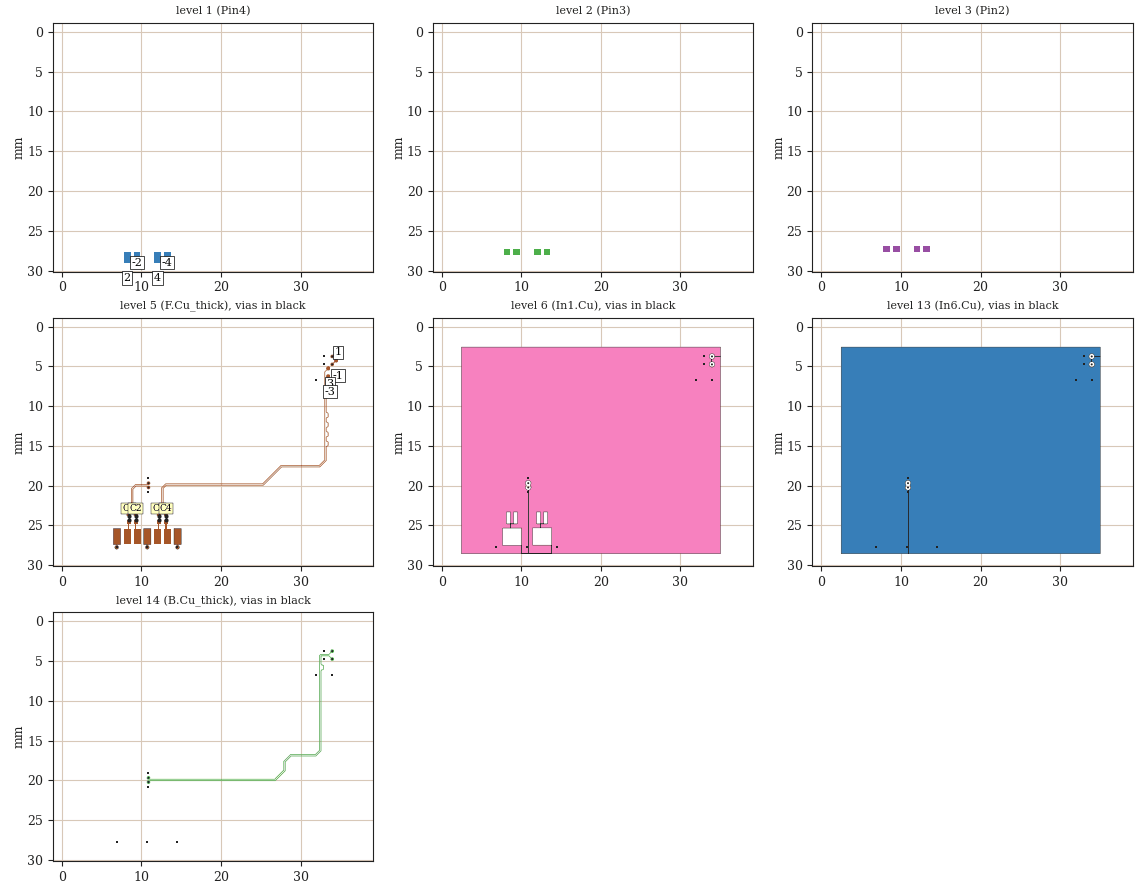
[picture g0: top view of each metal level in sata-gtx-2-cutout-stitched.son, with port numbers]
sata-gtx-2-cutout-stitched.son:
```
FTYP SONPROJ 19 ! Sonnet Project File
VER 18.52
HEADER
LIC antikernel2.1.51176
DAT 01/08/2022 18:57:38
BUILT_BY_CREATED dxf 18.52 12/15/2021 18:24:32
BUILT_BY_SAVED sonnet 18.52
MDATE 01/07/2022 16:35:50
HDATE 01/07/2022 16:35:50
ANN Created by dxfgeo, Sonnet Software Inc.
END HEADER
DIM
ANG DEG
CAP PF
CON /OH
FREQ GHZ
IND NH
LNG MM
RES OH
END DIM
CONTROL
VARSWP
OPTIONS  -dj
SPEED 1
CACHE_ABS 2
Q_ACC N
END CONTROL
GEO
TMET "Free Space" 0 FREESPACE 376.7303136 0 0 0
BMET "Free Space" 0 FREESPACE 376.7303136 0 0 0
MET "Copper_1oz_thin" 1 NOR 58000000 0.5 0.035 
MET "Copper_1oz_thick" 2 TMM 58000000 0.5 0.035 2
MET "Copper_0.5oz_thin" 4 NOR 58000000 0.5 0.017 
MET "Copper_0.5oz_thick" 12 TMM 58000000 0.5 0.017 2
MET "Copper_0.5oz_thick_down" 5 TMM 58000000 0.5 0.017 2 CDVY TDWN
MET "Copper_1oz_thick_down" 3 TMM 58000000 0.5 0.035 2 CDVY TDWN
MET "ConnectorPin" 9 TMM 58000000 0.5 0.3 3
BOX 16 38 29 3040 2320 20 0
      5 1 1 0 0 0 0 "Air"
      0.3 1 1 0 0 0 0 "Air"
      0.3 1 1 0 0 0 0 "Air"
      0.3 1 1 0 0 0 0 "Air"
      0.26 1 1 0 0 0 0 "Air"
      0.04 3.5 1 0.025 0 0 0 "Soldermask"
      0.075 3.39 1 0.004 0 0 0 "Panasonic_R-5775(G)"
      0.068 3.56 1 0.004 0 0 0 "Panasonic_R-5670(G)"
      0.13 3.39 1 0.004 0 0 0 "Panasonic_R-5775(G)"
      0.092 3.56 1 0.004 0 0 0 "Panasonic_R-5670(G)"
      0.609 3.39 1 0.004 0 0 0 "Panasonic_R-5775(G)"
      0.092 3.56 1 0.004 0 0 0 "Panasonic_R-5670(G)"
      0.13 3.39 1 0.004 0 0 0 "Panasonic_R-5775(G)"
      0.068 3.56 1 0.004 0 0 0 "Panasonic_R-5670(G)"
      0.075 3.39 1 0.004 0 0 0 "Panasonic_R-5775(G)"
      0.04 3.5 1 0.025 0 0 0 "Soldermask"
      5 1 1 0 0 0 0 "Air"
TECHLAY METAL Pin4 <UNSPECIFIED> -1 0 CAD Pin4 drawing 
1 0 6 N 6248 1 1 100 100 0 0 0 Y
END
END
TECHLAY METAL Pin3 <UNSPECIFIED> -2 0 CAD Pin3 drawing 
2 0 6 N 6250 1 1 100 100 0 0 0 Y
END
END
TECHLAY METAL Pin2 <UNSPECIFIED> -3 0 CAD Pin2 drawing 
3 0 6 N 6252 1 1 100 100 0 0 0 Y
END
END
TECHLAY METAL F.Cu_thick L1D0 -4 0 CAD F.Cu_thick drawing 
5 0 1 N 6173 1 1 100 100 0 0 0 Y
END
END
TECHLAY METAL F.Cu_thin <UNSPECIFIED> -5 0 CAD F.Cu_thin drawing 
5 0 0 N 6185 1 1 100 100 0 0 0 Y
END
END
TECHLAY METAL ConnectorPin1 <UNSPECIFIED> -6 0 CAD ConnectorPin drawing 
5 0 6 N 6254 1 1 100 100 0 0 0 Y
END
END
TECHLAY VIA Via1 L9D0 -17 0 CAD Via1 drawing 
VIA POLYGON
5 0 -1 N 6464 1 1 100 100 0 0 0 Y
TOLEVEL 14 RING NOCOVERS
END
END
TECHLAY METAL In1.Cu L2D0 -7 0 CAD In1.Cu drawing 
6 0 0 N 6206 1 1 100 100 0 0 0 Y
END
END
TECHLAY METAL In2.Cu_thick L3D0 -8 0 CAD In2.Cu_thick drawing 
7 0 3 N 6209 1 1 100 100 0 0 0 Y
END
END
TECHLAY METAL In2.Cu_thin <UNSPECIFIED> -9 0 CAD In2.Cu drawing 
7 0 2 N 6211 1 1 100 100 0 0 0 Y
END
END
TECHLAY METAL In3.Cu L4D0 -10 0 CAD In3.Cu drawing 
8 0 0 N 6214 1 1 100 100 0 0 0 Y
END
END
TECHLAY METAL In4.Cu L5D0 -11 0 CAD In4.Cu drawing 
11 0 0 N 6219 1 1 100 100 0 0 0 Y
END
END
TECHLAY METAL In5.Cu_thick L6D0 -12 0 CAD In5.Cu_thick drawing 
12 0 4 N 6222 1 1 100 100 0 0 0 Y
END
END
TECHLAY METAL In5.Cu_thin <UNSPECIFIED> -13 0 CAD In5.Cu drawing 
12 0 2 N 6224 1 1 100 100 0 0 0 Y
END
END
TECHLAY METAL In6.Cu L7D0 -14 0 CAD In6.Cu drawing 
13 0 0 N 6227 1 1 100 100 0 0 0 Y
END
END
TECHLAY METAL B.Cu_thick L8D0 -15 0 CAD B.Cu_thick drawing 
14 0 5 N 6230 1 1 100 100 0 0 0 Y
END
END
TECHLAY METAL B.Cu_thin <UNSPECIFIED> -16 0 CAD B.Cu_thin drawing 
14 0 0 N 6232 1 1 100 100 0 0 0 Y
END
END
VALVAR CORE_ER NONE "table1(\"core_er.csv\",FREQ)" "Variable set in material file"
VALVAR CORE_DF NONE "table1(\"core_df.csv\",FREQ)" "Variable set in material file"
VALVAR PREPREG_DF NONE "table1(\"prepreg_df.csv\",FREQ)" "Variable set in material file"
VALVAR PREPREG_ER NONE "table1(\"prepreg_er.csv\",FREQ)" "Variable set in material file"
DIM STD YDIR 1
POS -0.1079617907 2.226685128
NOM 2.175
REF1 POLY 6432 1
224
REF2 POLY 6432 1
223
END
DIM STD XDIR 1
POS 2.257172668 -0.1029215593
NOM 2.4
REF1 POLY 6432 1
224
REF2 POLY 6432 1
239
END
DIM STD XDIR 1
POS 2.257172668 -0.1029215593
NOM 2.4
REF1 POLY 6432 1
203
REF2 POLY 6432 1
218
END
DIM STD YDIR 1
POS -0.1079617907 2.226685128
NOM 2.175
REF1 POLY 6432 1
203
REF2 POLY 6432 1
202
END
DIM STD YDIR -1
POS -0.1313118977 -1.176126135
NOM 1.25
REF1 POLY 6271 1
3
REF2 POLY 6271 1
0
END
DIM STD XDIR -1
POS -0.6199376824 -0.05596443287
NOM 0.85
REF1 POLY 6271 1
1
REF2 POLY 6271 1
0
END
DIM STD YDIR -1
POS -0.1206188682 -0.8768719987
NOM 0.8
REF1 POLY 6280 1
3
REF2 POLY 6280 1
0
END
DIM STD YDIR -1
POS -0.1313118977 -1.176126135
NOM 1.25
REF1 POLY 6288 1
3
REF2 POLY 6288 1
0
END
DIM STD XDIR -1
POS -0.6199376824 -0.05596443287
NOM 0.85
REF1 POLY 6288 1
1
REF2 POLY 6288 1
0
END
DIM STD YDIR -1
POS -0.1206188682 -0.8768719987
NOM 0.8
REF1 POLY 6297 1
3
REF2 POLY 6297 1
0
END
LORGN 0 29 U 
POR1 BOX
POLY 6277 1
2
-2 100 0 0 0 9.45 29 
POR1 BOX
POLY 6281 1
2
2 100 0 0 0 8.2 29 
POR1 BOX
POLY 6294 1
2
-4 100 0 0 0 13.25 29 
POR1 BOX
POLY 6298 1
2
4 100 0 0 0 12 29 
POR1 CUP Auto
GNDREF AUTO
TERMW FEED
POLY 6015 1
37
1 50 0 0 0 34.7 3.25 
CUPGRP "Auto" LOCAL
ID 6460
END
POR1 CUP Auto
GNDREF AUTO
TERMW FEED
POLY 6016 1
37
-1 50 0 0 0 34.7 4.249 
CUPGRP "Auto" LOCAL
ID 6461
END
POR1 CUP Auto
GNDREF AUTO
TERMW FEED
POLY 6018 1
50
3 100 0 0 0 33.7 5.25 
CUPGRP "Auto" LOCAL
ID 6462
END
POR1 CUP Auto
GNDREF AUTO
TERMW FEED
POLY 6019 1
421
-3 100 0 0 0 33.7 6.25 
CUPGRP "Auto" LOCAL
ID 6463
END
SMD 1 "C1"
ID 6037
GNDREF AUTO
SBOX 8.257 8.507 23.925 24.175
PBSHW N
LPOS 8.382 23.925
TYPE IDEAL CAP 100000
SMDP 5 8.382 23.8 T 5 1 
EXSMDP
GNDREF AUTO
TERMW FEED
END EXSMDP
SMDP 5 8.382 24.3 B 6 2 
EXSMDP
GNDREF AUTO
TERMW FEED
END EXSMDP
END
SMD 1 "C2"
ID 6042
GNDREF AUTO
SBOX 9.157 9.407 23.925 24.175
PBSHW N
LPOS 9.282 23.925
TYPE IDEAL CAP 100000
SMDP 5 9.282 23.8 T 7 1 
EXSMDP
GNDREF AUTO
TERMW FEED
END EXSMDP
SMDP 5 9.282 24.3 B 8 2 
EXSMDP
GNDREF AUTO
TERMW FEED
END EXSMDP
END
SMD 1 "C3"
ID 6047
GNDREF AUTO
SBOX 12.057 12.307 23.925 24.175
PBSHW N
LPOS 12.182 23.925
TYPE IDEAL CAP 100000
SMDP 5 12.182 23.8 T 9 1 
EXSMDP
GNDREF AUTO
TERMW FEED
END EXSMDP
SMDP 5 12.182 24.3 B 10 2 
EXSMDP
GNDREF AUTO
TERMW FEED
END EXSMDP
END
SMD 1 "C4"
ID 6052
GNDREF AUTO
SBOX 12.957 13.207 23.925 24.175
PBSHW N
LPOS 13.082 23.925
TYPE IDEAL CAP 100000
SMDP 5 13.082 23.8 T 11 1 
EXSMDP
GNDREF AUTO
TERMW FEED
END EXSMDP
SMDP 5 13.082 24.3 B 12 2 
EXSMDP
GNDREF AUTO
TERMW FEED
END EXSMDP
END
NUM 50
1 5 6 N 6276 1 1 100 100 0 0 0 Y
TLAYNAM Pin4 INH
9.025 27.7
9.875 27.7
9.875 28.5
9.025 28.5
9.025 27.7
END
1 5 6 N 6277 1 1 100 100 0 0 0 Y
TLAYNAM Pin4 INH
9.875 28.5
9.025 28.5
9.025 29
9.875 29
9.875 28.5
END
1 5 6 N 6278 1 1 100 100 0 0 0 Y
TLAYNAM Pin4 INH
7.775 27.7
8.625 27.7
8.625 28.5
7.775 28.5
7.775 27.7
END
1 5 6 N 6281 1 1 100 100 0 0 0 Y
TLAYNAM Pin4 INH
8.625 28.5
7.775 28.5
7.775 29
8.625 29
8.625 28.5
END
1 5 6 N 6293 1 1 100 100 0 0 0 Y
TLAYNAM Pin4 INH
12.825 27.7
13.675 27.7
13.675 28.5
12.825 28.5
12.825 27.7
END
1 5 6 N 6294 1 1 100 100 0 0 0 Y
TLAYNAM Pin4 INH
13.675 28.5
12.825 28.5
12.825 29
13.675 29
13.675 28.5
END
1 5 6 N 6295 1 1 100 100 0 0 0 Y
TLAYNAM Pin4 INH
11.575 27.7
12.425 27.7
12.425 28.5
11.575 28.5
11.575 27.7
END
1 5 6 N 6298 1 1 100 100 0 0 0 Y
TLAYNAM Pin4 INH
12.425 28.5
11.575 28.5
11.575 29
12.425 29
12.425 28.5
END
2 5 6 N 6272 1 1 100 100 0 0 0 Y
TLAYNAM Pin3 INH
9.025 27.275
9.875 27.275
9.875 28.075
9.025 28.075
9.025 27.275
END
2 5 6 N 6273 1 1 100 100 0 0 0 Y
TLAYNAM Pin3 INH
7.775 27.275
8.625 27.275
8.625 28.075
7.775 28.075
7.775 27.275
END
2 5 6 N 6289 1 1 100 100 0 0 0 Y
TLAYNAM Pin3 INH
12.825 27.275
13.675 27.275
13.675 28.075
12.825 28.075
12.825 27.275
END
2 5 6 N 6290 1 1 100 100 0 0 0 Y
TLAYNAM Pin3 INH
11.575 27.275
12.425 27.275
12.425 28.075
11.575 28.075
11.575 27.275
END
3 5 6 N 6274 1 1 100 100 0 0 0 Y
TLAYNAM Pin2 INH
9.025 26.85
9.875 26.85
9.875 27.65
9.025 27.65
9.025 26.85
END
3 5 6 N 6280 1 1 100 100 0 0 0 Y
TLAYNAM Pin2 INH
7.775 26.85
8.625 26.85
8.625 27.65
7.775 27.65
7.775 26.85
END
3 5 6 N 6291 1 1 100 100 0 0 0 Y
TLAYNAM Pin2 INH
12.825 26.85
13.675 26.85
13.675 27.65
12.825 27.65
12.825 26.85
END
3 5 6 N 6297 1 1 100 100 0 0 0 Y
TLAYNAM Pin2 INH
11.575 26.85
12.425 26.85
12.425 27.65
11.575 27.65
11.575 26.85
END
5 13 1 N 36 1 1 100 100 0 0 0 Y
TLAYNAM F.Cu_thick INH
9.012 27.39
9.012 25.39
9.212 25.39
9.212 24.8
9.032 24.8
9.032 24.3
9.532 24.3
9.532 24.8
9.352 24.8
9.352 25.39
9.912 25.39
9.912 27.39
9.012 27.39
END
5 106 1 N 39 1 1 100 100 0 0 0 Y
TLAYNAM F.Cu_thick INH
9.032 23.8
9.032 23.3
9.237 23.3
9.237 23.193
8.886 22.842
8.883 22.838
8.881 22.834
8.88 22.83
8.878 22.826
8.877 22.822
8.877 20.43
8.879 20.422
8.883 20.414
8.886 20.41
8.888 20.407
8.895 20.401
9.292 20.004
9.296 20.001
9.3 19.999
9.304 19.998
9.308 19.996
9.312 19.995
10.709 19.995
10.713 19.996
10.717 19.998
10.721 19.999
10.725 20.001
10.729 20.004
10.738 20.013
10.741 20.017
10.758 20.033
10.766 20.027
10.786 20.017
10.806 20.008
10.827 20.002
10.849 19.997
10.871 19.995
10.893 19.995
10.915 19.997
10.937 20.002
10.958 20.008
10.978 20.017
10.998 20.027
11.016 20.039
11.033 20.053
11.049 20.069
11.063 20.086
11.075 20.104
11.085 20.124
11.094 20.144
11.1 20.165
11.105 20.187
11.107 20.209
11.107 20.231
11.105 20.253
11.1 20.275
11.094 20.296
11.085 20.316
11.075 20.336
11.063 20.354
11.049 20.371
11.033 20.387
11.016 20.401
10.998 20.413
10.978 20.423
10.958 20.432
10.937 20.438
10.915 20.443
10.893 20.445
10.871 20.445
10.849 20.443
10.827 20.438
10.806 20.432
10.786 20.423
10.766 20.413
10.748 20.401
10.731 20.387
10.715 20.371
10.701 20.354
10.689 20.336
10.679 20.316
10.67 20.296
10.664 20.275
10.659 20.253
10.657 20.231
10.657 20.209
10.659 20.187
10.664 20.165
10.67 20.144
10.679 20.124
10.689 20.104
10.695 20.096
10.684 20.085
9.337 20.085
8.967 20.456
8.967 22.797
9.318 23.148
9.321 23.152
9.323 23.156
9.324 23.16
9.326 23.164
9.327 23.168
9.327 23.3
9.532 23.3
9.532 23.8
9.032 23.8
END
5 109 1 N 40 1 1 100 100 0 0 0 Y
TLAYNAM F.Cu_thick INH
8.132 23.8
8.132 23.3
8.337 23.3
8.337 23.168
8.338 23.164
8.34 23.16
8.341 23.156
8.343 23.152
8.346 23.148
8.697 22.797
8.697 20.356
8.698 20.352
8.7 20.348
8.701 20.344
8.703 20.34
8.709 20.332
8.715 20.327
9.209 19.833
9.211 19.83
9.214 19.827
9.222 19.821
9.225 19.819
9.23 19.818
9.234 19.816
9.238 19.815
10.684 19.815
10.695 19.804
10.689 19.796
10.679 19.776
10.67 19.756
10.664 19.735
10.659 19.713
10.657 19.691
10.657 19.669
10.659 19.647
10.664 19.625
10.67 19.604
10.679 19.584
10.689 19.564
10.701 19.546
10.715 19.529
10.731 19.513
10.748 19.499
10.766 19.487
10.786 19.477
10.806 19.468
10.827 19.462
10.849 19.457
10.871 19.455
10.893 19.455
10.915 19.457
10.937 19.462
10.958 19.468
10.978 19.477
10.998 19.487
11.016 19.499
11.033 19.513
11.049 19.529
11.063 19.546
11.075 19.564
11.085 19.584
11.094 19.604
11.1 19.625
11.105 19.647
11.107 19.669
11.107 19.691
11.105 19.713
11.1 19.735
11.094 19.756
11.085 19.776
11.075 19.796
11.063 19.814
11.049 19.831
11.033 19.847
11.016 19.861
10.998 19.873
10.978 19.883
10.958 19.892
10.937 19.898
10.915 19.903
10.893 19.905
10.871 19.905
10.849 19.903
10.827 19.898
10.806 19.892
10.786 19.883
10.766 19.873
10.758 19.867
10.729 19.896
10.725 19.899
10.721 19.901
10.717 19.902
10.713 19.904
10.709 19.905
9.263 19.905
8.787 20.382
8.787 22.822
8.786 22.826
8.784 22.83
8.783 22.835
8.781 22.838
8.775 22.846
8.772 22.849
8.769 22.851
8.427 23.193
8.427 23.3
8.632 23.3
8.632 23.8
8.132 23.8
END
5 67 1 N 243 1 1 100 100 0 0 0 Y
TLAYNAM F.Cu_thick INH
6.871 27.975
6.849 27.973
6.827 27.968
6.806 27.962
6.786 27.953
6.766 27.943
6.748 27.931
6.731 27.917
6.715 27.901
6.701 27.884
6.689 27.866
6.679 27.846
6.67 27.826
6.664 27.805
6.659 27.783
6.657 27.761
6.657 27.739
6.659 27.717
6.664 27.695
6.67 27.674
6.679 27.654
6.689 27.634
6.701 27.616
6.715 27.599
6.731 27.583
6.748 27.569
6.766 27.557
6.786 27.547
6.806 27.538
6.827 27.532
6.849 27.527
6.852 27.527
6.852 27.39
6.472 27.39
6.472 25.39
7.372 25.39
7.372 27.39
6.992 27.39
6.992 27.554
6.998 27.557
7.016 27.569
7.033 27.583
7.049 27.599
7.063 27.616
7.075 27.634
7.085 27.654
7.094 27.674
7.1 27.695
7.105 27.717
7.107 27.739
7.107 27.761
7.105 27.783
7.1 27.805
7.094 27.826
7.085 27.846
7.075 27.866
7.063 27.884
7.049 27.901
7.033 27.917
7.016 27.931
6.998 27.943
6.978 27.953
6.958 27.962
6.937 27.968
6.915 27.973
6.893 27.975
6.871 27.975
END
5 13 1 N 245 1 1 100 100 0 0 0 Y
TLAYNAM F.Cu_thick INH
7.742 27.39
7.742 25.39
8.312 25.39
8.312 24.8
8.132 24.8
8.132 24.3
8.632 24.3
8.632 24.8
8.452 24.8
8.452 25.39
8.642 25.39
8.642 27.39
7.742 27.39
END
5 67 1 N 506 1 1 100 100 0 0 0 Y
TLAYNAM F.Cu_thick INH
14.521 27.975
14.499 27.973
14.477 27.968
14.456 27.962
14.436 27.953
14.416 27.943
14.398 27.931
14.381 27.917
14.365 27.901
14.351 27.884
14.339 27.866
14.329 27.846
14.32 27.826
14.314 27.805
14.309 27.783
14.307 27.761
14.307 27.739
14.309 27.717
14.314 27.695
14.32 27.674
14.329 27.654
14.339 27.634
14.351 27.616
14.365 27.599
14.381 27.583
14.398 27.569
14.416 27.557
14.436 27.547
14.456 27.538
14.462 27.536
14.462 27.39
14.092 27.39
14.092 25.39
14.992 25.39
14.992 27.39
14.602 27.39
14.602 27.536
14.608 27.538
14.628 27.547
14.648 27.557
14.666 27.569
14.683 27.583
14.699 27.599
14.713 27.616
14.725 27.634
14.735 27.654
14.744 27.674
14.75 27.695
14.755 27.717
14.757 27.739
14.757 27.761
14.755 27.783
14.75 27.805
14.744 27.826
14.735 27.846
14.725 27.866
14.713 27.884
14.699 27.901
14.683 27.917
14.666 27.931
14.648 27.943
14.628 27.953
14.608 27.962
14.587 27.968
14.565 27.973
14.543 27.975
14.521 27.975
END
5 67 1 N 512 1 1 100 100 0 0 0 Y
TLAYNAM F.Cu_thick INH
10.721 27.975
10.699 27.973
10.677 27.968
10.656 27.962
10.636 27.953
10.616 27.943
10.598 27.931
10.581 27.917
10.565 27.901
10.551 27.884
10.539 27.866
10.529 27.846
10.52 27.826
10.514 27.805
10.509 27.783
10.507 27.761
10.507 27.739
10.509 27.717
10.514 27.695
10.52 27.674
10.529 27.654
10.539 27.634
10.551 27.616
10.565 27.599
10.581 27.583
10.598 27.569
10.616 27.557
10.636 27.547
10.656 27.538
10.662 27.536
10.662 27.39
10.282 27.39
10.282 25.39
11.182 25.39
11.182 27.39
10.802 27.39
10.802 27.536
10.808 27.538
10.828 27.547
10.848 27.557
10.866 27.569
10.883 27.583
10.899 27.599
10.913 27.616
10.925 27.634
10.935 27.654
10.944 27.674
10.95 27.695
10.955 27.717
10.957 27.739
10.957 27.761
10.955 27.783
10.95 27.805
10.944 27.826
10.935 27.846
10.925 27.866
10.913 27.884
10.899 27.901
10.883 27.917
10.866 27.931
10.848 27.943
10.828 27.953
10.808 27.962
10.787 27.968
10.765 27.973
10.743 27.975
10.721 27.975
END
5 111 1 N 6015 1 1 100 100 0 0 0 Y
TLAYNAM F.Cu_thick INH
34.015 3.973
34.037 3.968
34.058 3.962
34.078 3.953
34.098 3.943
34.116 3.931
34.133 3.917
34.149 3.901
34.163 3.884
34.175 3.866
34.185 3.846
34.194 3.826
34.2 3.805
34.205 3.783
34.207 3.761
34.207 3.739
34.205 3.717
34.2 3.695
34.194 3.674
34.185 3.654
34.18 3.644
34.347 3.477
34.369 3.49
34.393 3.5
34.418 3.507
34.443 3.512
34.469 3.515
34.495 3.515
34.521 3.512
34.546 3.507
34.571 3.5
34.595 3.49
34.618 3.477
34.64 3.463
34.66 3.446
34.678 3.428
34.695 3.408
34.7 3.400142857
34.7 3.099857143
34.695 3.092
34.678 3.072
34.66 3.054
34.64 3.037
34.618 3.023
34.595 3.01
34.571 3
34.546 2.993
34.521 2.988
34.495 2.985
34.469 2.985
34.443 2.988
34.418 2.993
34.393 3
34.369 3.01
34.346 3.023
34.324 3.037
34.304 3.054
34.286 3.072
34.269 3.092
34.255 3.114
34.242 3.137
34.232 3.161
34.225 3.186
34.22 3.211
34.217 3.237
34.217 3.263
34.22 3.289
34.225 3.314
34.232 3.339
34.242 3.363
34.255 3.385
34.088 3.552
34.078 3.547
34.058 3.538
34.037 3.532
34.015 3.527
33.993 3.525
33.971 3.525
33.949 3.527
33.927 3.532
33.906 3.538
33.886 3.547
33.866 3.557
33.848 3.569
33.831 3.583
33.815 3.599
33.801 3.616
33.789 3.634
33.779 3.654
33.77 3.674
33.764 3.695
33.759 3.717
33.757 3.739
33.757 3.761
33.759 3.783
33.764 3.805
33.77 3.826
33.779 3.846
33.789 3.866
33.801 3.884
33.815 3.901
33.831 3.917
33.848 3.931
33.866 3.943
33.886 3.953
33.906 3.962
33.927 3.968
33.949 3.973
33.971 3.975
33.993 3.975
34.015 3.973
END
5 111 1 N 6016 1 1 100 100 0 0 0 Y
TLAYNAM F.Cu_thick INH
34.01 4.972
34.032 4.967
34.053 4.961
34.073 4.952
34.093 4.942
34.111 4.93
34.128 4.916
34.144 4.9
34.158 4.883
34.17 4.865
34.18 4.845
34.189 4.825
34.195 4.804
34.2 4.782
34.202 4.76
34.202 4.738
34.2 4.716
34.195 4.694
34.189 4.673
34.18 4.653
34.175 4.643
34.342 4.476
34.364 4.489
34.388 4.499
34.413 4.506
34.438 4.511
34.464 4.514
34.49 4.514
34.516 4.511
34.541 4.506
34.566 4.499
34.59 4.489
34.613 4.476
34.635 4.462
34.655 4.445
34.673 4.427
34.69 4.407
34.7 4.391285714
34.7 4.106714286
34.69 4.091
34.673 4.071
34.655 4.053
34.635 4.036
34.613 4.022
34.59 4.009
34.566 3.999
34.541 3.992
34.516 3.987
34.49 3.984
34.464 3.984
34.438 3.987
34.413 3.992
34.388 3.999
34.364 4.009
34.341 4.022
34.319 4.036
34.299 4.053
34.281 4.071
34.264 4.091
34.25 4.113
34.237 4.136
34.227 4.16
34.22 4.185
34.215 4.21
34.212 4.236
34.212 4.262
34.215 4.288
34.22 4.313
34.227 4.338
34.237 4.362
34.25 4.384
34.083 4.551
34.073 4.546
34.053 4.537
34.032 4.531
34.01 4.526
33.988 4.524
33.966 4.524
33.944 4.526
33.922 4.531
33.901 4.537
33.881 4.546
33.861 4.556
33.843 4.568
33.826 4.582
33.81 4.598
33.796 4.615
33.784 4.633
33.774 4.653
33.765 4.673
33.759 4.694
33.754 4.716
33.752 4.738
33.752 4.76
33.754 4.782
33.759 4.804
33.765 4.825
33.774 4.845
33.784 4.865
33.796 4.883
33.81 4.9
33.826 4.916
33.843 4.93
33.861 4.942
33.881 4.952
33.901 4.961
33.922 4.967
33.944 4.972
33.966 4.974
33.988 4.974
34.01 4.972
END
5 125 1 N 6018 1 1 100 100 0 0 0 Y
TLAYNAM F.Cu_thick INH
12.432 23.3
12.227 23.3
12.227 23.193
12.569 22.851
12.572 22.849
12.575 22.846
12.581 22.838
12.583 22.835
12.584 22.83
12.586 22.826
12.587 22.822
12.587 20.282
13.063 19.805
25.252 19.805
25.256 19.804
25.26 19.802
25.264 19.801
25.268 19.799
25.272 19.796
27.563 17.505
32.352 17.505
32.36 17.503
32.368 17.499
32.372 17.496
32.375 17.494
32.381 17.487
33.078 16.79
33.081 16.786
33.083 16.782
33.084 16.778
33.086 16.774
33.087 16.77
33.087 5.708
33.329 5.466
33.346 5.477
33.369 5.49
33.393 5.5
33.418 5.507
33.443 5.512
33.469 5.515
33.495 5.515
33.521 5.512
33.546 5.507
33.571 5.5
33.595 5.49
33.618 5.477
33.64 5.463
33.66 5.446
33.678 5.428
33.695 5.408
33.7 5.400142857
33.7 5.099857143
33.695 5.092
33.678 5.072
33.66 5.054
33.64 5.037
33.618 5.023
33.595 5.01
33.571 5
33.546 4.993
33.521 4.988
33.495 4.985
33.469 4.985
33.443 4.988
33.418 4.993
33.393 5
33.369 5.01
33.346 5.023
33.324 5.037
33.304 5.054
33.286 5.072
33.269 5.092
33.255 5.114
33.242 5.137
33.232 5.161
33.225 5.186
33.22 5.211
33.217 5.237
33.217 5.263
33.22 5.289
33.225 5.314
33.232 5.339
33.242 5.363
33.255 5.386
33.266 5.403
33.006 5.663
33.003 5.667
33.001 5.671
33 5.675
32.998 5.679
32.997 5.683
32.997 16.745
32.326 17.415
27.538 17.415
27.534 17.416
27.53 17.418
27.526 17.419
27.522 17.421
27.518 17.424
25.227 19.715
13.038 19.715
13.034 19.716
13.03 19.718
13.026 19.719
13.022 19.721
13.018 19.724
12.515 20.227
12.509 20.232
12.503 20.24
12.501 20.244
12.5 20.248
12.498 20.252
12.497 20.256
12.497 22.797
12.146 23.148
12.143 23.152
12.141 23.156
12.14 23.16
12.138 23.164
12.137 23.168
12.137 23.3
11.932 23.3
11.932 23.8
12.432 23.8
12.432 23.3
END
5 830 1 N 6019 1 1 100 100 0 0 0 Y
TLAYNAM F.Cu_thick INH
13.332 23.3
13.127 23.3
13.127 23.168
13.126 23.164
13.124 23.16
13.123 23.156
13.121 23.152
13.118 23.148
12.767 22.797
12.767 20.356
13.137 19.985
25.326 19.985
25.33 19.984
25.334 19.982
25.338 19.981
25.342 19.979
25.346 19.976
27.637 17.685
32.426 17.685
32.43 17.684
32.434 17.682
32.438 17.681
32.442 17.679
32.45 17.673
32.455 17.667
33.258 16.864
33.261 16.86
33.263 16.856
33.264 16.852
33.266 16.848
33.267 16.844
33.267 15.151
33.269 15.138
33.276 15.117
33.279 15.111
33.28 15.11
33.296 15.093
33.312 15.083
33.327 15.078
33.366 15.073
33.374 15.073
33.377 15.072
33.382 15.072
33.386 15.07
33.41 15.062
33.414 15.061
33.418 15.059
33.421 15.057
33.441 15.044
33.442 15.044
33.443 15.043
33.445 15.042
33.446 15.041
33.449 15.039
33.452 15.036
33.454 15.033
33.467 15.02
33.469 15.019
33.471 15.016
33.474 15.013
33.477 15.009
33.479 15.005
33.479 15.003
33.487 14.991
33.488 14.989
33.49 14.987
33.492 14.984
33.494 14.98
33.495 14.977
33.496 14.973
33.503 14.953
33.505 14.949
33.505 14.945
33.506 14.941
33.506 14.932
33.508 14.92
33.508 14.919
33.509 14.916
33.509 14.545
33.508 14.541
33.506 14.53
33.506 14.522
33.505 14.518
33.505 14.513
33.502 14.507
33.495 14.486
33.494 14.482
33.492 14.478
33.49 14.475
33.477 14.455
33.477 14.454
33.476 14.453
33.475 14.451
33.474 14.45
33.472 14.447
33.469 14.444
33.466 14.442
33.454 14.43
33.452 14.426
33.448 14.423
33.445 14.421
33.443 14.42
33.442 14.419
33.441 14.419
33.438 14.417
33.424 14.408
33.422 14.407
33.42 14.405
33.417 14.403
33.413 14.401
33.41 14.4
33.406 14.399
33.386 14.392
33.383 14.391
33.378 14.39
33.374 14.389
33.365 14.389
33.328 14.384
33.308 14.377
33.295 14.369
33.286 14.36
33.275 14.343
33.269 14.326
33.267 14.311
33.267 13.951
33.269 13.938
33.276 13.917
33.279 13.911
33.28 13.91
33.296 13.893
33.312 13.883
33.327 13.878
33.366 13.873
33.374 13.873
33.377 13.872
33.382 13.872
33.386 13.87
33.41 13.862
33.414 13.861
33.418 13.859
33.421 13.857
33.441 13.844
33.442 13.844
33.443 13.843
33.445 13.842
33.446 13.841
33.449 13.839
33.452 13.836
33.454 13.833
33.467 13.82
33.469 13.819
33.471 13.816
33.474 13.813
33.477 13.809
33.479 13.805
33.479 13.803
33.487 13.791
33.488 13.789
33.49 13.787
33.492 13.784
33.494 13.78
33.495 13.777
33.496 13.773
33.503 13.753
33.505 13.749
33.505 13.745
33.506 13.741
33.506 13.732
33.508 13.72
33.508 13.719
33.509 13.716
33.509 13.345
33.508 13.341
33.506 13.33
33.506 13.322
33.505 13.318
33.505 13.313
33.502 13.307
33.495 13.286
33.494 13.282
33.492 13.278
33.49 13.275
33.477 13.255
33.477 13.254
33.476 13.253
33.475 13.251
33.474 13.25
33.472 13.247
33.469 13.244
33.466 13.242
33.454 13.23
33.452 13.226
33.448 13.223
33.445 13.221
33.443 13.22
33.442 13.219
33.441 13.219
33.438 13.217
33.424 13.208
33.422 13.207
33.42 13.205
33.417 13.203
33.413 13.201
33.41 13.2
33.406 13.199
33.386 13.192
33.383 13.191
33.378 13.19
33.374 13.189
33.365 13.189
33.328 13.184
33.308 13.177
33.295 13.169
33.286 13.16
33.275 13.143
33.269 13.126
33.267 13.111
33.267 12.751
33.269 12.738
33.276 12.717
33.279 12.711
33.28 12.71
33.296 12.693
33.312 12.683
33.327 12.678
33.366 12.673
33.374 12.673
33.377 12.672
33.382 12.672
33.386 12.67
33.41 12.662
33.414 12.661
33.418 12.659
33.421 12.657
33.441 12.644
33.442 12.644
33.443 12.643
33.445 12.642
33.446 12.641
33.449 12.639
33.452 12.636
33.454 12.633
33.467 12.62
33.469 12.619
33.471 12.616
33.474 12.613
33.477 12.609
33.479 12.605
33.479 12.603
33.487 12.591
33.488 12.589
33.49 12.587
33.492 12.584
33.494 12.58
33.495 12.577
33.496 12.573
33.503 12.553
33.505 12.549
33.505 12.545
33.506 12.541
33.506 12.532
33.508 12.52
33.508 12.519
33.509 12.516
33.509 12.145
33.508 12.141
33.506 12.13
33.506 12.122
33.505 12.118
33.505 12.113
33.502 12.107
33.495 12.086
33.494 12.082
33.492 12.078
33.49 12.075
33.477 12.055
33.477 12.054
33.476 12.053
33.475 12.051
33.474 12.05
33.472 12.047
33.469 12.044
33.466 12.042
33.454 12.03
33.452 12.026
33.448 12.023
33.445 12.021
33.443 12.02
33.442 12.019
33.441 12.019
33.438 12.017
33.424 12.008
33.422 12.007
33.42 12.005
33.417 12.003
33.413 12.001
33.41 12
33.406 11.999
33.386 11.992
33.383 11.991
33.378 11.99
33.374 11.989
33.365 11.989
33.328 11.984
33.308 11.977
33.295 11.969
33.286 11.96
33.275 11.943
33.269 11.926
33.267 11.911
33.267 11.551
33.269 11.538
33.276 11.517
33.279 11.511
33.28 11.51
33.296 11.493
33.312 11.483
33.327 11.478
33.366 11.473
33.374 11.473
33.377 11.472
33.382 11.472
33.386 11.47
33.41 11.462
33.414 11.461
33.418 11.459
33.421 11.457
33.441 11.444
33.442 11.444
33.443 11.443
33.445 11.442
33.446 11.441
33.449 11.439
33.452 11.436
33.454 11.433
33.467 11.42
33.469 11.419
33.471 11.416
33.474 11.413
33.477 11.409
33.479 11.405
33.479 11.403
33.487 11.391
33.488 11.389
33.49 11.387
33.492 11.384
33.494 11.38
33.495 11.377
33.496 11.373
33.503 11.353
33.505 11.349
33.505 11.345
33.506 11.341
33.506 11.332
33.508 11.32
33.508 11.319
33.509 11.316
33.509 10.945
33.508 10.941
33.506 10.93
33.506 10.922
33.505 10.918
33.505 10.913
33.502 10.907
33.495 10.886
33.494 10.882
33.492 10.878
33.49 10.875
33.477 10.855
33.477 10.854
33.476 10.853
33.475 10.851
33.474 10.85
33.472 10.847
33.469 10.844
33.466 10.842
33.454 10.83
33.452 10.826
33.448 10.823
33.445 10.821
33.443 10.82
33.442 10.819
33.441 10.819
33.438 10.817
33.424 10.808
33.422 10.807
33.42 10.805
33.417 10.803
33.413 10.801
33.41 10.8
33.406 10.799
33.386 10.792
33.383 10.791
33.378 10.79
33.374 10.789
33.365 10.789
33.328 10.784
33.308 10.777
33.295 10.769
33.286 10.76
33.275 10.743
33.269 10.726
33.267 10.711
33.267 6.528
33.329 6.466
33.346 6.477
33.369 6.49
33.393 6.5
33.418 6.507
33.443 6.512
33.469 6.515
33.495 6.515
33.521 6.512
33.546 6.507
33.571 6.5
33.595 6.49
33.618 6.477
33.64 6.463
33.66 6.446
33.678 6.428
33.695 6.408
33.7 6.400142857
33.7 6.099857143
33.695 6.092
33.678 6.072
33.66 6.054
33.64 6.037
33.618 6.023
33.595 6.01
33.571 6
33.546 5.993
33.521 5.988
33.495 5.985
33.469 5.985
33.443 5.988
33.418 5.993
33.393 6
33.369 6.01
33.346 6.023
33.324 6.037
33.304 6.054
33.286 6.072
33.269 6.092
33.255 6.114
33.242 6.137
33.232 6.161
33.225 6.186
33.22 6.211
33.217 6.237
33.217 6.263
33.22 6.289
33.225 6.314
33.232 6.339
33.242 6.363
33.255 6.386
33.266 6.403
33.186 6.483
33.183 6.487
33.181 6.491
33.18 6.495
33.178 6.499
33.177 6.503
33.177 10.717
33.178 10.721
33.18 10.732
33.18 10.741
33.181 10.745
33.181 10.749
33.183 10.753
33.19 10.773
33.191 10.777
33.192 10.78
33.194 10.784
33.196 10.787
33.198 10.789
33.199 10.791
33.207 10.803
33.207 10.805
33.209 10.809
33.212 10.813
33.215 10.816
33.217 10.819
33.219 10.82
33.235 10.836
33.237 10.839
33.24 10.841
33.244 10.844
33.252 10.848
33.266 10.857
33.269 10.859
33.273 10.861
33.277 10.862
33.298 10.869
33.304 10.872
33.309 10.872
33.313 10.873
33.321 10.873
33.359 10.878
33.376 10.884
33.391 10.893
33.404 10.907
33.41 10.917
33.417 10.938
33.419 10.951
33.419 11.311
33.417 11.326
33.411 11.343
33.4 11.36
33.389 11.371
33.379 11.377
33.359 11.384
33.321 11.389
33.312 11.389
33.308 11.39
33.303 11.391
33.3 11.392
33.277 11.4
33.273 11.401
33.269 11.403
33.266 11.405
33.262 11.408
33.261 11.409
33.246 11.419
33.245 11.419
33.244 11.42
33.242 11.421
33.239 11.423
33.235 11.426
33.233 11.43
33.224 11.439
33.221 11.441
33.22 11.442
33.217 11.444
33.214 11.448
33.211 11.451
33.194 11.478
33.192 11.482
33.191 11.486
33.184 11.507
33.181 11.513
33.181 11.518
33.18 11.522
33.18 11.53
33.178 11.541
33.177 11.545
33.177 11.916
33.178 11.919
33.178 11.92
33.18 11.932
33.18 11.941
33.181 11.945
33.181 11.949
33.183 11.953
33.19 11.973
33.191 11.977
33.192 11.98
33.194 11.984
33.196 11.987
33.198 11.989
33.199 11.991
33.207 12.003
33.207 12.005
33.209 12.009
33.212 12.013
33.215 12.016
33.217 12.019
33.219 12.02
33.235 12.036
33.237 12.039
33.24 12.041
33.244 12.044
33.252 12.048
33.266 12.057
33.269 12.059
33.273 12.061
33.277 12.062
33.298 12.069
33.304 12.072
33.309 12.072
33.313 12.073
33.321 12.073
33.359 12.078
33.376 12.084
33.391 12.093
33.404 12.107
33.41 12.117
33.417 12.138
33.419 12.151
33.419 12.511
33.417 12.526
33.411 12.543
33.4 12.56
33.389 12.571
33.379 12.577
33.359 12.584
33.321 12.589
33.312 12.589
33.308 12.59
33.303 12.591
33.3 12.592
33.277 12.6
33.273 12.601
33.269 12.603
33.266 12.605
33.262 12.608
33.261 12.609
33.246 12.619
33.245 12.619
33.244 12.62
33.242 12.621
33.239 12.623
33.235 12.626
33.233 12.63
33.224 12.639
33.221 12.641
33.22 12.642
33.217 12.644
33.214 12.648
33.211 12.651
33.194 12.678
33.192 12.682
33.191 12.686
33.184 12.707
33.181 12.713
33.181 12.718
33.18 12.722
33.18 12.73
33.178 12.741
33.177 12.745
33.177 13.116
33.178 13.119
33.178 13.12
33.18 13.132
33.18 13.141
33.181 13.145
33.181 13.149
33.183 13.153
33.19 13.173
33.191 13.177
33.192 13.18
33.194 13.184
33.196 13.187
33.198 13.189
33.199 13.191
33.207 13.203
33.207 13.205
33.209 13.209
33.212 13.213
33.215 13.216
33.217 13.219
33.219 13.22
33.235 13.236
33.237 13.239
33.24 13.241
33.244 13.244
33.252 13.248
33.266 13.257
33.269 13.259
33.273 13.261
33.277 13.262
33.298 13.269
33.304 13.272
33.309 13.272
33.313 13.273
33.321 13.273
33.359 13.278
33.376 13.284
33.391 13.293
33.404 13.307
33.41 13.317
33.417 13.338
33.419 13.351
33.419 13.711
33.417 13.726
33.411 13.743
33.4 13.76
33.389 13.771
33.379 13.777
33.359 13.784
33.321 13.789
33.312 13.789
33.308 13.79
33.303 13.791
33.3 13.792
33.277 13.8
33.273 13.801
33.269 13.803
33.266 13.805
33.262 13.808
33.261 13.809
33.246 13.819
33.245 13.819
33.244 13.82
33.242 13.821
33.239 13.823
33.235 13.826
33.233 13.83
33.224 13.839
33.221 13.841
33.22 13.842
33.217 13.844
33.214 13.848
33.211 13.851
33.194 13.878
33.192 13.882
33.191 13.886
33.184 13.907
33.181 13.913
33.181 13.918
33.18 13.922
33.18 13.93
33.178 13.941
33.177 13.945
33.177 14.316
33.178 14.319
33.178 14.32
33.18 14.332
33.18 14.341
33.181 14.345
33.181 14.349
33.183 14.353
33.19 14.373
33.191 14.377
33.192 14.38
33.194 14.384
33.196 14.387
33.198 14.389
33.199 14.391
33.207 14.403
33.207 14.405
33.209 14.409
33.212 14.413
33.215 14.416
33.217 14.419
33.219 14.42
33.235 14.436
33.237 14.439
33.24 14.441
33.244 14.444
33.252 14.448
33.266 14.457
33.269 14.459
33.273 14.461
33.277 14.462
33.298 14.469
33.304 14.472
33.309 14.472
33.313 14.473
33.321 14.473
33.359 14.478
33.376 14.484
33.391 14.493
33.404 14.507
33.41 14.517
33.417 14.538
33.419 14.551
33.419 14.911
33.417 14.926
33.411 14.943
33.4 14.96
33.389 14.971
33.379 14.977
33.359 14.984
33.321 14.989
33.312 14.989
33.308 14.99
33.303 14.991
33.3 14.992
33.277 15
33.273 15.001
33.269 15.003
33.266 15.005
33.262 15.008
33.261 15.009
33.246 15.019
33.245 15.019
33.244 15.02
33.242 15.021
33.239 15.023
33.235 15.026
33.233 15.03
33.224 15.039
33.221 15.041
33.22 15.042
33.217 15.044
33.214 15.048
33.211 15.051
33.194 15.078
33.192 15.082
33.191 15.086
33.184 15.107
33.181 15.113
33.181 15.118
33.18 15.122
33.18 15.13
33.178 15.141
33.177 15.145
33.177 16.819
32.4 17.595
27.612 17.595
27.608 17.596
27.604 17.598
27.6 17.599
27.596 17.601
27.592 17.604
25.301 19.895
13.112 19.895
13.108 19.896
13.104 19.898
13.1 19.899
13.096 19.901
13.092 19.904
12.695 20.301
12.688 20.307
12.686 20.31
12.683 20.314
12.679 20.322
12.677 20.33
12.677 22.822
12.678 22.826
12.68 22.83
12.681 22.834
12.683 22.838
12.686 22.842
13.037 23.193
13.037 23.3
12.832 23.3
12.832 23.8
13.332 23.8
13.332 23.3
END
5 13 1 N 6296 1 1 100 100 0 0 0 Y
TLAYNAM F.Cu_thick INH
12.812 27.39
12.812 25.39
13.012 25.39
13.012 24.8
12.832 24.8
12.832 24.3
13.332 24.3
13.332 24.8
13.152 24.8
13.152 25.39
13.712 25.39
13.712 27.39
12.812 27.39
END
5 13 1 N 6299 1 1 100 100 0 0 0 Y
TLAYNAM F.Cu_thick INH
11.542 27.39
11.542 25.39
12.112 25.39
12.112 24.8
11.932 24.8
11.932 24.3
12.432 24.3
12.432 24.8
12.252 24.8
12.252 25.39
12.442 25.39
12.442 27.39
11.542 27.39
END
5 5 6 N 6271 1 1 100 100 0 0 0 Y
TLAYNAM ConnectorPin1 INH
7.775 25.95
8.625 25.95
8.625 27.2
7.775 27.2
7.775 25.95
END
5 5 6 N 6275 1 1 100 100 0 0 0 Y
TLAYNAM ConnectorPin1 INH
9.025 25.95
9.875 25.95
9.875 27.2
9.025 27.2
9.025 25.95
END
5 5 6 N 6288 1 1 100 100 0 0 0 Y
TLAYNAM ConnectorPin1 INH
11.575 25.95
12.425 25.95
12.425 27.2
11.575 27.2
11.575 25.95
END
5 5 6 N 6292 1 1 100 100 0 0 0 Y
TLAYNAM ConnectorPin1 INH
12.825 25.95
13.675 25.95
13.675 27.2
12.825 27.2
12.825 25.95
END
VIA POLYGON
5 53 -1 N 5258 1 1 100 100 0 0 0 Y
TOLEVEL 14 RING NOCOVERS
TLAYNAM Via1 INH
10.882 19.805
10.858 19.803
10.846 19.8
10.834 19.795
10.823 19.79
10.813 19.784
10.803 19.777
10.785 19.759
10.778 19.749
10.772 19.739
10.767 19.728
10.762 19.716
10.759 19.704
10.757 19.68
10.759 19.656
10.762 19.644
10.767 19.632
10.772 19.621
10.778 19.611
10.785 19.601
10.803 19.583
10.813 19.576
10.823 19.57
10.834 19.565
10.846 19.56
10.858 19.557
10.882 19.555
10.906 19.557
10.918 19.56
10.93 19.565
10.941 19.57
10.951 19.576
10.961 19.583
10.979 19.601
10.986 19.611
10.992 19.621
10.997 19.632
11.002 19.644
11.005 19.656
11.007 19.68
11.005 19.704
11.002 19.716
10.997 19.728
10.992 19.739
10.986 19.749
10.979 19.759
10.961 19.777
10.951 19.784
10.941 19.79
10.93 19.795
10.918 19.8
10.906 19.803
10.882 19.805
END
VIA POLYGON
5 53 -1 N 5319 1 1 100 100 0 0 0 Y
TOLEVEL 14 RING NOCOVERS
TLAYNAM Via1 INH
10.882 20.345
10.858 20.343
10.846 20.34
10.834 20.335
10.823 20.33
10.813 20.324
10.803 20.317
10.785 20.299
10.778 20.289
10.772 20.279
10.767 20.268
10.762 20.256
10.759 20.244
10.757 20.22
10.759 20.196
10.762 20.184
10.767 20.172
10.772 20.161
10.778 20.151
10.785 20.141
10.803 20.123
10.813 20.116
10.823 20.11
10.834 20.105
10.846 20.1
10.858 20.097
10.882 20.095
10.906 20.097
10.918 20.1
10.93 20.105
10.941 20.11
10.951 20.116
10.961 20.123
10.979 20.141
10.986 20.151
10.992 20.161
10.997 20.172
11.002 20.184
11.005 20.196
11.007 20.22
11.005 20.244
11.002 20.256
10.997 20.268
10.992 20.279
10.986 20.289
10.979 20.299
10.961 20.317
10.951 20.324
10.941 20.33
10.93 20.335
10.918 20.34
10.906 20.343
10.882 20.345
END
VIA POLYGON
5 53 -1 N 5847 1 1 100 100 0 0 0 Y
TOLEVEL 14 RING NOCOVERS
TLAYNAM Via1 INH
33.982 3.875
33.958 3.873
33.946 3.87
33.934 3.865
33.923 3.86
33.913 3.854
33.903 3.847
33.885 3.829
33.878 3.819
33.872 3.809
33.867 3.798
33.862 3.786
33.859 3.774
33.857 3.75
33.859 3.726
33.862 3.714
33.867 3.702
33.872 3.691
33.878 3.681
33.885 3.671
33.903 3.653
33.913 3.646
33.923 3.64
33.934 3.635
33.946 3.63
33.958 3.627
33.982 3.625
34.006 3.627
34.018 3.63
34.03 3.635
34.041 3.64
34.051 3.646
34.061 3.653
34.079 3.671
34.086 3.681
34.092 3.691
34.097 3.702
34.102 3.714
34.105 3.726
34.107 3.75
34.105 3.774
34.102 3.786
34.097 3.798
34.092 3.809
34.086 3.819
34.079 3.829
34.061 3.847
34.051 3.854
34.041 3.86
34.03 3.865
34.018 3.87
34.006 3.873
33.982 3.875
END
VIA POLYGON
5 53 -1 N 5849 1 1 100 100 0 0 0 Y
TOLEVEL 14 RING NOCOVERS
TLAYNAM Via1 INH
33.977 4.874
33.953 4.872
33.941 4.869
33.929 4.864
33.918 4.859
33.908 4.853
33.898 4.846
33.88 4.828
33.873 4.818
33.867 4.808
33.862 4.797
33.857 4.785
33.854 4.773
33.852 4.749
33.854 4.725
33.857 4.713
33.862 4.701
33.867 4.69
33.873 4.68
33.88 4.67
33.898 4.652
33.908 4.645
33.918 4.639
33.929 4.634
33.941 4.629
33.953 4.626
33.977 4.624
34.001 4.626
34.013 4.629
34.025 4.634
34.036 4.639
34.046 4.645
34.056 4.652
34.074 4.67
34.081 4.68
34.087 4.69
34.092 4.701
34.097 4.713
34.1 4.725
34.102 4.749
34.1 4.773
34.097 4.785
34.092 4.797
34.087 4.808
34.081 4.818
34.074 4.828
34.056 4.846
34.046 4.853
34.036 4.859
34.025 4.864
34.013 4.869
34.001 4.872
33.977 4.874
END
VIA POLYGON
5 5 -1 N 6408 1 1 100 100 0 0 0 Y
TOLEVEL 14 RING NOCOVERS
TLAYNAM Via1 INH
32.85 3.625
33.1 3.625
33.1 3.875
32.85 3.875
32.85 3.625
END
VIA POLYGON
5 5 -1 N 6409 1 1 100 100 0 0 0 Y
TOLEVEL 14 RING NOCOVERS
TLAYNAM Via1 INH
32.85 4.625
33.1 4.625
33.1 4.875
32.85 4.875
32.85 4.625
END
VIA POLYGON
5 5 -1 N 6410 1 1 100 100 0 0 0 Y
TOLEVEL 14 RING NOCOVERS
TLAYNAM Via1 INH
31.85 6.625
32.1 6.625
32.1 6.875
31.85 6.875
31.85 6.625
END
VIA POLYGON
5 5 -1 N 6411 1 1 100 100 0 0 0 Y
TOLEVEL 14 RING NOCOVERS
TLAYNAM Via1 INH
33.856 6.636
34.106 6.636
34.106 6.886
33.856 6.886
33.856 6.636
END
VIA POLYGON
5 5 -1 N 6412 1 1 100 100 0 0 0 Y
TOLEVEL 14 RING NOCOVERS
TLAYNAM Via1 INH
14.4 27.625
14.65 27.625
14.65 27.875
14.4 27.875
14.4 27.625
END
VIA POLYGON
5 5 -1 N 6413 1 1 100 100 0 0 0 Y
TOLEVEL 14 RING NOCOVERS
TLAYNAM Via1 INH
10.6 27.625
10.85 27.625
10.85 27.875
10.6 27.875
10.6 27.625
END
VIA POLYGON
5 5 -1 N 6414 1 1 100 100 0 0 0 Y
TOLEVEL 14 RING NOCOVERS
TLAYNAM Via1 INH
6.75 27.625
7 27.625
7 27.875
6.75 27.875
6.75 27.625
END
VIA POLYGON
5 5 -1 N 6433 1 1 100 100 0 0 0 Y
TOLEVEL 14 RING NOCOVERS
TLAYNAM Via1 INH
10.747 18.943
10.997 18.943
10.997 19.193
10.747 19.193
10.747 18.943
END
VIA POLYGON
5 5 -1 N 6434 1 1 100 100 0 0 0 Y
TOLEVEL 14 RING NOCOVERS
TLAYNAM Via1 INH
10.747 20.693
10.997 20.693
10.997 20.943
10.747 20.943
10.747 20.693
END
6 244 0 N 6432 1 1 100 100 0 0 0 Y
TLAYNAM In1.Cu INH
35.05 5.718
35.05 3.718
34.332 3.718
34.332 3.788
34.319 3.849
34.289 3.921
34.289 3.922
34.254 3.973
34.208 4.019
34.142 4.064
34.141 4.064
34.091 4.085
34.089 4.085
34.014 4.1
33.95 4.1
33.95 4.4
34.02 4.4
34.081 4.413
34.153 4.443
34.154 4.443
34.205 4.478
34.251 4.524
34.296 4.59
34.296 4.591
34.317 4.641
34.317 4.643
34.332 4.718
34.332 4.788
34.319 4.849
34.289 4.921
34.289 4.922
34.254 4.973
34.208 5.019
34.142 5.064
34.141 5.064
34.091 5.085
34.089 5.085
34.014 5.1
33.944 5.1
33.883 5.087
33.811 5.057
33.81 5.057
33.759 5.022
33.713 4.976
33.668 4.91
33.668 4.909
33.647 4.859
33.647 4.857
33.632 4.782
33.632 4.712
33.645 4.651
33.675 4.579
33.675 4.578
33.71 4.527
33.756 4.481
33.822 4.436
33.823 4.436
33.873 4.415
33.875 4.415
33.95 4.4
33.95 4.1
33.944 4.1
33.883 4.087
33.811 4.057
33.81 4.057
33.759 4.022
33.713 3.976
33.668 3.91
33.668 3.909
33.647 3.859
33.647 3.857
33.632 3.782
33.632 3.712
33.645 3.651
33.675 3.579
33.675 3.578
33.71 3.527
33.756 3.481
33.822 3.436
33.823 3.436
33.873 3.415
33.875 3.415
33.95 3.4
34.02 3.4
34.081 3.413
34.153 3.443
34.154 3.443
34.205 3.478
34.251 3.524
34.296 3.59
34.296 3.591
34.317 3.641
34.317 3.643
34.332 3.718
35.05 3.718
35.05 3.718
35.05 2.575
2.482 2.575
2.482 17.925
2.482 20.252
2.482 23.075
2.482 28.55
10.914 28.55
10.914 20.57
10.844 20.57
10.783 20.557
10.711 20.527
10.71 20.527
10.659 20.492
10.613 20.446
10.568 20.38
10.568 20.379
10.547 20.329
10.547 20.327
10.532 20.252
10.532 20.182
10.545 20.121
10.575 20.049
10.575 20.048
10.61 19.997
10.623 19.984
10.629 19.976
10.631 19.971
10.633 19.967
10.635 19.962
10.636 19.957
10.636 19.943
10.635 19.938
10.633 19.933
10.631 19.929
10.629 19.924
10.623 19.916
10.62 19.913
10.615 19.909
10.613 19.906
10.568 19.84
10.568 19.839
10.547 19.789
10.547 19.787
10.532 19.712
10.532 19.642
10.545 19.581
10.575 19.509
10.575 19.508
10.61 19.457
10.656 19.411
10.722 19.366
10.723 19.366
10.773 19.345
10.775 19.345
10.85 19.33
10.92 19.33
10.981 19.343
11.053 19.373
11.054 19.373
11.105 19.408
11.151 19.454
11.173 19.486
11.173 19.487
11.179 19.495
11.196 19.52
11.196 19.521
11.217 19.571
11.217 19.573
11.232 19.648
11.232 19.718
11.219 19.779
11.189 19.851
11.189 19.852
11.154 19.903
11.141 19.916
11.135 19.924
11.133 19.929
11.131 19.933
11.129 19.938
11.128 19.943
11.128 19.957
11.129 19.962
11.131 19.967
11.133 19.971
11.135 19.976
11.141 19.984
11.151 19.994
11.196 20.06
11.196 20.061
11.217 20.111
11.217 20.113
11.232 20.188
11.232 20.258
11.219 20.319
11.19 20.39
11.189 20.392
11.154 20.443
11.108 20.489
11.042 20.534
11.041 20.534
10.991 20.555
10.989 20.555
10.914 20.57
10.914 28.55
13.825 28.55
13.825 27.475
11.425 27.475
11.425 25.3
12.432 25.3
12.432 24.8
11.932 24.8
11.932 23.3
12.432 23.3
12.432 24.8
12.832 24.8
12.832 23.3
13.332 23.3
13.332 24.8
12.832 24.8
12.432 24.8
12.432 24.8
12.432 25.3
13.825 25.3
13.825 27.475
13.825 28.55
10.05 28.55
10.05 27.5
7.65 27.5
7.65 25.325
8.632 25.325
8.632 24.8
8.132 24.8
8.132 23.3
8.632 23.3
8.632 24.8
9.032 24.8
9.032 23.3
9.532 23.3
9.532 24.8
9.032 24.8
8.632 24.8
8.632 24.8
8.632 25.325
10.05 25.325
10.05 27.5
10.05 28.55
35.05 28.55
35.05 5.718
END
13 203 0 N 6003 1 1 100 100 0 0 0 Y
TLAYNAM In6.Cu INH
35.05 5.718
35.05 3.718
34.332 3.718
34.332 3.788
34.319 3.849
34.289 3.921
34.289 3.922
34.254 3.973
34.208 4.019
34.142 4.064
34.141 4.064
34.091 4.085
34.089 4.085
34.014 4.1
33.95 4.1
33.95 4.4
34.02 4.4
34.081 4.413
34.153 4.443
34.154 4.443
34.205 4.478
34.251 4.524
34.296 4.59
34.296 4.591
34.317 4.641
34.317 4.643
34.332 4.718
34.332 4.788
34.319 4.849
34.289 4.921
34.289 4.922
34.254 4.973
34.208 5.019
34.142 5.064
34.141 5.064
34.091 5.085
34.089 5.085
34.014 5.1
33.944 5.1
33.883 5.087
33.811 5.057
33.81 5.057
33.759 5.022
33.713 4.976
33.668 4.91
33.668 4.909
33.647 4.859
33.647 4.857
33.632 4.782
33.632 4.712
33.645 4.651
33.675 4.579
33.675 4.578
33.71 4.527
33.756 4.481
33.822 4.436
33.823 4.436
33.873 4.415
33.875 4.415
33.95 4.4
33.95 4.1
33.944 4.1
33.883 4.087
33.811 4.057
33.81 4.057
33.759 4.022
33.713 3.976
33.668 3.91
33.668 3.909
33.647 3.859
33.647 3.857
33.632 3.782
33.632 3.712
33.645 3.651
33.675 3.579
33.675 3.578
33.71 3.527
33.756 3.481
33.822 3.436
33.823 3.436
33.873 3.415
33.875 3.415
33.95 3.4
34.02 3.4
34.081 3.413
34.153 3.443
34.154 3.443
34.205 3.478
34.251 3.524
34.296 3.59
34.296 3.591
34.317 3.641
34.317 3.643
34.332 3.718
35.05 3.718
35.05 3.718
35.05 3.0928
35.05 2.575
2.482 2.575
2.482 17.925
2.482 20.252
2.482 23.425
2.482 28.55
10.914 28.55
10.914 20.57
10.844 20.57
10.783 20.557
10.711 20.527
10.71 20.527
10.659 20.492
10.613 20.446
10.568 20.38
10.568 20.379
10.547 20.329
10.547 20.327
10.532 20.252
10.532 20.182
10.545 20.121
10.575 20.049
10.575 20.048
10.61 19.997
10.623 19.984
10.629 19.976
10.631 19.971
10.633 19.967
10.635 19.962
10.636 19.957
10.636 19.943
10.635 19.938
10.633 19.933
10.631 19.929
10.629 19.924
10.623 19.916
10.62 19.913
10.615 19.909
10.613 19.906
10.568 19.84
10.568 19.839
10.547 19.789
10.547 19.787
10.532 19.712
10.532 19.642
10.545 19.581
10.575 19.509
10.575 19.508
10.61 19.457
10.656 19.411
10.722 19.366
10.723 19.366
10.773 19.345
10.775 19.345
10.85 19.33
10.92 19.33
10.981 19.343
11.053 19.373
11.054 19.373
11.105 19.408
11.151 19.454
11.173 19.486
11.173 19.487
11.179 19.495
11.196 19.52
11.196 19.521
11.217 19.571
11.217 19.573
11.232 19.648
11.232 19.718
11.219 19.779
11.189 19.851
11.189 19.852
11.154 19.903
11.141 19.916
11.135 19.924
11.133 19.929
11.131 19.933
11.129 19.938
11.128 19.943
11.128 19.957
11.129 19.962
11.131 19.967
11.133 19.971
11.135 19.976
11.141 19.984
11.151 19.994
11.196 20.06
11.196 20.061
11.217 20.111
11.217 20.113
11.232 20.188
11.232 20.258
11.219 20.319
11.19 20.39
11.189 20.392
11.154 20.443
11.108 20.489
11.042 20.534
11.041 20.534
10.991 20.555
10.989 20.555
10.914 20.57
10.914 28.55
35.05 28.55
35.05 5.718
END
14 362 5 N 4401 1 1 100 100 0 0 0 Y
TLAYNAM B.Cu_thick INH
10.871 20.445
10.849 20.443
10.827 20.438
10.806 20.432
10.786 20.423
10.766 20.413
10.748 20.401
10.731 20.387
10.715 20.371
10.701 20.354
10.689 20.336
10.679 20.316
10.67 20.296
10.664 20.275
10.659 20.253
10.657 20.231
10.657 20.209
10.659 20.187
10.664 20.165
10.67 20.144
10.679 20.124
10.689 20.104
10.701 20.086
10.715 20.069
10.731 20.053
10.748 20.039
10.766 20.027
10.786 20.017
10.806 20.008
10.827 20.002
10.849 19.997
10.871 19.995
10.893 19.995
10.915 19.997
10.937 20.002
10.958 20.008
10.978 20.017
10.998 20.027
11.006 20.033
11.026 20.013
11.028 20.01
11.031 20.007
11.039 20.001
11.042 19.999
11.047 19.998
11.051 19.996
11.055 19.995
26.8 19.995
28.027 18.769
28.027 17.68
28.029 17.672
28.033 17.664
28.036 17.66
28.038 17.657
28.045 17.651
28.792 16.904
28.796 16.901
28.8 16.899
28.804 16.898
28.808 16.896
28.812 16.895
31.9 16.895
32.527 16.269
32.527 6.255
32.528 6.251
32.531 6.231
32.531 6.222
32.532 6.219
32.532 6.214
32.534 6.21
32.545 6.179
32.546 6.175
32.55 6.167
32.553 6.164
32.569 6.138
32.57 6.136
32.571 6.135
32.574 6.131
32.576 6.129
32.579 6.127
32.595 6.111
32.597 6.108
32.603 6.102
32.607 6.099
32.609 6.098
32.611 6.096
32.614 6.095
32.635 6.082
32.638 6.079
32.646 6.075
32.684 6.062
32.689 6.061
32.693 6.06
32.702 6.06
32.758 6.053
32.783 6.045
32.803 6.032
32.824 6.012
32.838 5.99
32.846 5.965
32.849 5.941
32.849 5.661
32.846 5.637
32.838 5.612
32.825 5.592
32.805 5.571
32.783 5.557
32.758 5.549
32.702 5.542
32.693 5.542
32.69 5.541
32.685 5.541
32.681 5.539
32.65 5.528
32.646 5.527
32.638 5.523
32.635 5.52
32.609 5.504
32.607 5.503
32.606 5.502
32.602 5.499
32.6 5.497
32.598 5.494
32.582 5.478
32.579 5.476
32.573 5.47
32.57 5.466
32.569 5.464
32.567 5.462
32.566 5.459
32.553 5.438
32.55 5.435
32.546 5.427
32.545 5.424
32.544 5.42
32.534 5.392
32.532 5.387
32.532 5.384
32.531 5.38
32.531 5.371
32.528 5.351
32.527 5.346
32.527 4.38
32.529 4.372
32.533 4.364
32.536 4.36
32.538 4.357
32.545 4.351
32.592 4.304
32.596 4.301
32.6 4.299
32.604 4.298
32.608 4.296
32.612 4.295
33.579 4.295
33.583 4.296
33.587 4.298
33.591 4.299
33.595 4.301
33.599 4.304
33.608 4.313
33.611 4.317
33.858 4.563
33.866 4.557
33.886 4.547
33.906 4.538
33.927 4.532
33.949 4.527
33.971 4.525
33.993 4.525
34.015 4.527
34.037 4.532
34.058 4.538
34.078 4.547
34.098 4.557
34.116 4.569
34.133 4.583
34.149 4.599
34.163 4.616
34.175 4.634
34.185 4.654
34.194 4.674
34.2 4.695
34.205 4.717
34.207 4.739
34.207 4.761
34.205 4.783
34.2 4.805
34.194 4.826
34.185 4.846
34.175 4.866
34.163 4.884
34.149 4.901
34.133 4.917
34.116 4.931
34.098 4.943
34.078 4.953
34.058 4.962
34.037 4.968
34.015 4.973
33.993 4.975
33.971 4.975
33.949 4.973
33.927 4.968
33.906 4.962
33.886 4.953
33.866 4.943
33.848 4.931
33.831 4.917
33.815 4.901
33.801 4.884
33.789 4.866
33.779 4.846
33.77 4.826
33.764 4.805
33.759 4.783
33.757 4.761
33.757 4.739
33.759 4.717
33.764 4.695
33.77 4.674
33.779 4.654
33.789 4.634
33.795 4.626
33.554 4.385
32.637 4.385
32.617 4.406
32.617 5.341
32.62 5.365
32.628 5.39
32.642 5.412
32.663 5.432
32.683 5.445
32.708 5.453
32.764 5.46
32.773 5.46
32.777 5.461
32.782 5.462
32.82 5.475
32.828 5.479
32.831 5.482
32.852 5.495
32.855 5.496
32.857 5.498
32.859 5.499
32.863 5.502
32.869 5.508
32.871 5.511
32.887 5.527
32.89 5.529
32.892 5.531
32.895 5.535
32.896 5.536
32.897 5.538
32.913 5.564
32.916 5.567
32.92 5.575
32.921 5.579
32.932 5.61
32.934 5.614
32.934 5.619
32.935 5.622
32.935 5.631
32.938 5.651
32.939 5.655
32.939 5.946
32.938 5.951
32.935 5.971
32.935 5.98
32.934 5.984
32.934 5.987
32.932 5.992
32.922 6.02
32.921 6.024
32.92 6.027
32.916 6.035
32.913 6.038
32.9 6.059
32.899 6.062
32.897 6.064
32.896 6.066
32.893 6.07
32.887 6.076
32.884 6.078
32.868 6.094
32.866 6.097
32.864 6.099
32.86 6.102
32.859 6.103
32.857 6.104
32.831 6.12
32.828 6.123
32.82 6.127
32.816 6.128
32.785 6.139
32.781 6.141
32.776 6.141
32.773 6.142
32.764 6.142
32.708 6.149
32.683 6.157
32.661 6.171
32.641 6.192
32.628 6.212
32.62 6.237
32.617 6.261
32.617 16.294
32.616 16.298
32.614 16.302
32.613 16.306
32.611 16.31
32.608 16.314
32.605 16.317
32.602 16.321
32.599 16.323
31.955 16.967
31.95 16.973
31.942 16.979
31.938 16.981
31.934 16.982
31.93 16.984
31.926 16.985
28.837 16.985
28.117 17.706
28.117 18.794
28.116 18.798
28.114 18.802
28.113 18.806
28.111 18.81
28.108 18.814
26.855 20.067
26.85 20.073
26.842 20.079
26.838 20.081
26.834 20.082
26.83 20.084
26.826 20.085
11.08 20.085
11.069 20.096
11.075 20.104
11.085 20.124
11.094 20.144
11.1 20.165
11.105 20.187
11.107 20.209
11.107 20.231
11.105 20.253
11.1 20.275
11.094 20.296
11.085 20.316
11.075 20.336
11.063 20.354
11.049 20.371
11.033 20.387
11.016 20.401
10.998 20.413
10.978 20.423
10.958 20.432
10.937 20.438
10.915 20.443
10.893 20.445
10.871 20.445
END
14 199 5 N 4402 1 1 100 100 0 0 0 Y
TLAYNAM B.Cu_thick INH
10.871 19.905
10.849 19.903
10.827 19.898
10.806 19.892
10.786 19.883
10.766 19.873
10.748 19.861
10.731 19.847
10.715 19.831
10.701 19.814
10.689 19.796
10.679 19.776
10.67 19.756
10.664 19.735
10.659 19.713
10.657 19.691
10.657 19.669
10.659 19.647
10.664 19.625
10.67 19.604
10.679 19.584
10.689 19.564
10.701 19.546
10.715 19.529
10.731 19.513
10.748 19.499
10.766 19.487
10.786 19.477
10.806 19.468
10.827 19.462
10.849 19.457
10.871 19.455
10.893 19.455
10.915 19.457
10.937 19.462
10.958 19.468
10.978 19.477
10.998 19.487
11.016 19.499
11.033 19.513
11.049 19.529
11.063 19.546
11.075 19.564
11.085 19.584
11.094 19.604
11.1 19.625
11.105 19.647
11.107 19.669
11.107 19.691
11.105 19.713
11.1 19.735
11.094 19.756
11.085 19.776
11.075 19.796
11.069 19.804
11.08 19.815
26.726 19.815
27.847 18.695
27.847 17.606
27.848 17.602
27.85 17.598
27.851 17.594
27.853 17.59
27.859 17.582
27.865 17.577
28.718 16.724
28.722 16.721
28.726 16.719
28.73 16.718
28.734 16.716
28.738 16.715
31.826 16.715
32.347 16.195
32.347 4.306
32.348 4.302
32.35 4.298
32.351 4.294
32.353 4.29
32.359 4.282
32.365 4.277
32.509 4.133
32.511 4.13
32.514 4.127
32.522 4.121
32.525 4.119
32.53 4.118
32.534 4.116
32.538 4.115
33.554 4.115
33.795 3.874
33.789 3.866
33.779 3.846
33.77 3.826
33.764 3.805
33.759 3.783
33.757 3.761
33.757 3.739
33.759 3.717
33.764 3.695
33.77 3.674
33.779 3.654
33.789 3.634
33.801 3.616
33.815 3.599
33.831 3.583
33.848 3.569
33.866 3.557
33.886 3.547
33.906 3.538
33.927 3.532
33.949 3.527
33.971 3.525
33.993 3.525
34.015 3.527
34.037 3.532
34.058 3.538
34.078 3.547
34.098 3.557
34.116 3.569
34.133 3.583
34.149 3.599
34.163 3.616
34.175 3.634
34.185 3.654
34.194 3.674
34.2 3.695
34.205 3.717
34.207 3.739
34.207 3.761
34.205 3.783
34.2 3.805
34.194 3.826
34.185 3.846
34.175 3.866
34.163 3.884
34.149 3.901
34.133 3.917
34.116 3.931
34.098 3.943
34.078 3.953
34.058 3.962
34.037 3.968
34.015 3.973
33.993 3.975
33.971 3.975
33.949 3.973
33.927 3.968
33.906 3.962
33.886 3.953
33.866 3.943
33.858 3.937
33.599 4.196
33.595 4.199
33.591 4.201
33.587 4.202
33.583 4.204
33.579 4.205
32.563 4.205
32.437 4.332
32.437 16.22
32.436 16.224
32.434 16.228
32.433 16.232
32.431 16.236
32.428 16.24
31.881 16.787
31.875 16.794
31.872 16.796
31.868 16.799
31.86 16.803
31.852 16.805
28.763 16.805
27.937 17.632
27.937 18.72
27.936 18.724
27.934 18.728
27.933 18.732
27.931 18.736
27.928 18.74
26.781 19.887
26.775 19.894
26.772 19.896
26.768 19.899
26.76 19.903
26.752 19.905
11.055 19.905
11.051 19.904
11.047 19.902
11.043 19.901
11.039 19.899
11.035 19.896
11.006 19.867
10.998 19.873
10.978 19.883
10.958 19.892
10.937 19.898
10.915 19.903
10.893 19.905
10.871 19.905
END
END GEO
OPT
MAX 100
END OPT
VARSWP
ENABLED Y
FREQ Y AY ABS_ENTRY 0.001 8.0 -1 300 
END
END VARSWP
3DOPTIONS
GLOBAL 1
ALL 13 1
END 3DOPTIONS
```
